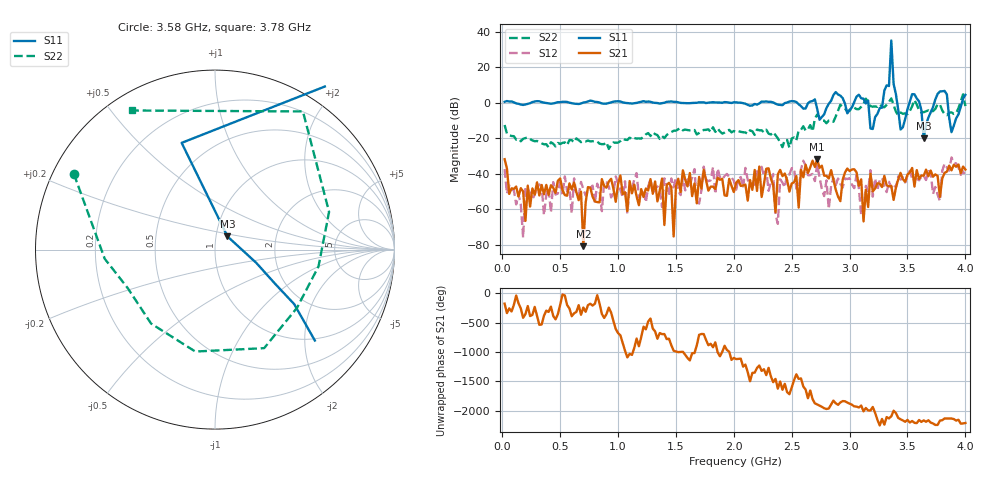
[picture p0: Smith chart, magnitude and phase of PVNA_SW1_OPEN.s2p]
! PocketVna 1.78  pocketvna.com
! Live measurements ((Reflection-S11, Transmission-S21, Transmission-S12, Reflection-S22) Linear 500000-4000000000/201 calibrated)
# Hz S RI R 50
! Hz  ReS11  ImS11  ReS21  ImS21  ReS12  ImS12  ReS22  ImS22
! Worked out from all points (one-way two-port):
!   200 points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, 20.5 MHz to 4 GHz, reference 50 ohm
!   highest |S21| = -31.60 dB at 2.72 GHz (marker M1); lowest = -80.7 dB at 700.4 MHz (marker M2)
!   lowest |S11| = -19.9 dB at 3.64 GHz (marker M3), VSWR 1.22, Z = 56.8 + j8.43 ohm
!   |S11| at or under -10 dB: 3.174 GHz to 3.214 GHz (39.79 MHz wide, 1.25 % of centre); 3.431 GHz to 3.476 GHz (45.13 MHz wide, 1.31 % of centre); 3.628 GHz to 3.672 GHz (44.19 MHz wide, 1.21 % of centre) (the widest 3 of 4)
!   |S22| runs from -26.0 to 4.8 dB; largest |S21 - S12| = 0.039
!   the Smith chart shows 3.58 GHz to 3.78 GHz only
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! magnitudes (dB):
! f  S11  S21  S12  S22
! 20.5 MHz  0.6  -31.7  -37.3  -12.5
! 180.5 MHz  -1.2  -49.9  -75.9  -20.2
! 200.5 MHz  -0.9  -66.5  -47.5  -19.8
! 620.4 MHz  -0.5  -44.9  -42.5  -22.2
! 700.4 MHz  0.1  -80.7  -48.6  -21.5
! 740.4 MHz  0.8  -47.4  -49.0  -21.3
! 1.36 GHz  -0.4  -49.3  -49.4  -20.3
! 1.46 GHz  0.8  -47.4  -42.6  -16.4
! 1.48 GHz  0.5  -75.2  -47.5  -15.7
! 1.56 GHz  -0.1  -38.0  -42.4  -15.5
! 2.02 GHz  0.3  -45.0  -48.9  -16.5
! 2.56 GHz  -0.8  -58.9  -49.2  -15.6
! 2.68 GHz  1.0  -32.6  -40.0  -16.1
! 2.72 GHz  -3.4  -31.6  -34.4  -6.5
! 3.06 GHz  3.5  -39.1  -40.5  -3.5
! 3.12 GHz  2.3  -66.7  -60.7  -0.6
! 3.34 GHz  9.5  -47.1  -44.4  0.4
! 3.36 GHz  35.1  -46.7  -47.8  2.5
! 3.44 GHz  -15.0  -39.4  -43.2  -5.5
! 3.56 GHz  4.8  -47.1  -42.5  1.6
! 3.64 GHz  -19.9  -41.0  -41.2  -5.3
! 4 GHz  4.5  -37.5  -41.5  -1.8
